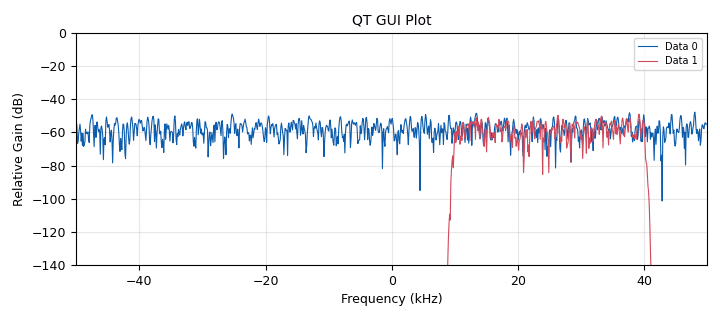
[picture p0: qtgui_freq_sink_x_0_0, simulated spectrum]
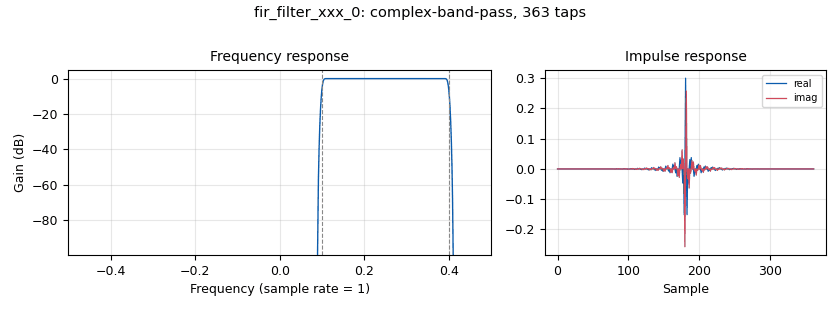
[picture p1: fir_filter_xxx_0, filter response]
<?xml version='1.0' encoding='utf-8'?>
<?grc format='1' created='3.7.10'?>
<flow_graph>
<block>
<key>options</key>
<param><key>id</key><value>band_pass_filter_example</value></param>
<param><key>author</key><value>Alexandros-Apostolos A. Boulogeorgos</value></param>
<param><key>generate_options</key><value>qt_gui</value></param>
<param><key>title</key><value>Band_pass_filter</value></param>
</block>
<block>
<key>variable</key>
<param><key>id</key><value>samp_rate</value></param>
<param><key>value</key><value>100000</value></param>
</block>
<block>
<key>variable</key>
<param><key>id</key><value>taps</value></param>
<param><key>value</key><value>firdes.complex_band_pass_2(1, 1, 0.1, 0.4, 0.01, 80, firdes.WIN_BLACKMAN_hARRIS)</value></param>
</block>
<block>
<key>analog_noise_source_x</key>
<param><key>id</key><value>analog_noise_source_x_0</value></param>
<param><key>amp</key><value>0.1</value></param>
<param><key>noise_type</key><value>analog.GR_GAUSSIAN</value></param>
<param><key>type</key><value>complex</value></param>
<param><key>seed</key><value>0</value></param>
</block>
<block>
<key>blocks_throttle</key>
<param><key>id</key><value>blocks_throttle_0</value></param>
<param><key>samples_per_second</key><value>samp_rate</value></param>
<param><key>type</key><value>complex</value></param>
</block>
<block>
<key>fir_filter_xxx</key>
<param><key>id</key><value>fir_filter_xxx_0</value></param>
<param><key>decim</key><value>1</value></param>
<param><key>taps</key><value>taps</value></param>
<param><key>type</key><value>ccc</value></param>
</block>
<block>
<key>qtgui_freq_sink_x</key>
<param><key>id</key><value>qtgui_freq_sink_x_0_0</value></param>
<param><key>bw</key><value>samp_rate</value></param>
<param><key>fc</key><value>0</value></param>
<param><key>fftsize</key><value>1024</value></param>
<param><key>label2</key><value></value></param>
<param><key>name</key><value>QT GUI Plot</value></param>
<param><key>nconnections</key><value>2</value></param>
<param><key>showports</key><value>True</value></param>
<param><key>type</key><value>complex</value></param>
<param><key>wintype</key><value>firdes.WIN_BLACKMAN_hARRIS</value></param>
<param><key>ymax</key><value>0</value></param>
</block>
<connection><source_block_id>analog_noise_source_x_0</source_block_id><sink_block_id>blocks_throttle_0</sink_block_id><source_key>0</source_key><sink_key>0</sink_key></connection>
<connection><source_block_id>blocks_throttle_0</source_block_id><sink_block_id>fir_filter_xxx_0</sink_block_id><source_key>0</source_key><sink_key>0</sink_key></connection>
<connection><source_block_id>blocks_throttle_0</source_block_id><sink_block_id>qtgui_freq_sink_x_0_0</sink_block_id><source_key>0</source_key><sink_key>0</sink_key></connection>
<connection><source_block_id>fir_filter_xxx_0</source_block_id><sink_block_id>qtgui_freq_sink_x_0_0</sink_block_id><source_key>0</source_key><sink_key>1</sink_key></connection>
</flow_graph>
